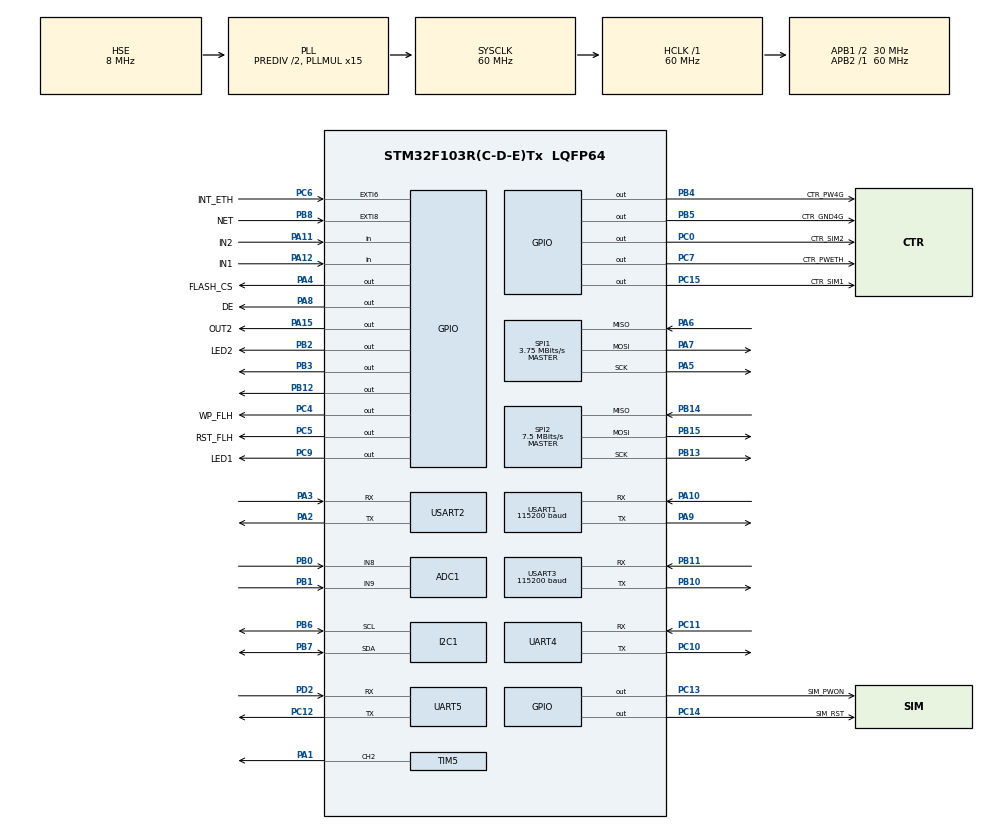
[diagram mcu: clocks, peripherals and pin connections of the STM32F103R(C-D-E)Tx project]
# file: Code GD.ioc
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ADC1.Channel-0\#ChannelRegularConversion=ADC_CHANNEL_8
ADC1.NbrOfConversionFlag=1
ADC1.Rank-0\#ChannelRegularConversion=1
ADC1.SamplingTime-0\#ChannelRegularConversion=ADC_SAMPLETIME_1CYCLE_5
ADC1.master=1
IWDG.Prescaler=IWDG_PRESCALER_256
IWDG.Reload=4000
Mcu.Family=STM32F1
Mcu.Name=STM32F103R(C-D-E)Tx
Mcu.Package=LQFP64
NVIC.EXTI9_5_IRQn=true\:0\:0\:false\:false\:true\:true\:true\:true
NVIC.PriorityGroup=NVIC_PRIORITYGROUP_4
NVIC.TIM2_IRQn=true\:0\:0\:false\:false\:true\:true\:true\:true
NVIC.TIM3_IRQn=true\:0\:0\:true\:false\:true\:true\:true\:true
NVIC.TIM6_IRQn=true\:0\:0\:false\:false\:true\:true\:true\:true
NVIC.UART4_IRQn=true\:0\:0\:false\:false\:true\:true\:true\:true
NVIC.UART5_IRQn=true\:0\:0\:false\:false\:true\:true\:true\:true
NVIC.USART1_IRQn=true\:0\:0\:true\:false\:true\:true\:true\:true
NVIC.USART2_IRQn=true\:0\:0\:false\:false\:true\:true\:true\:true
NVIC.USART3_IRQn=true\:0\:0\:true\:false\:true\:true\:true\:true
PA1.Signal=S_TIM5_CH2
PA10.Mode=Asynchronous
PA10.Signal=USART1_RX
PA11.GPIO_Label=IN2
PA11.GPIO_PuPd=GPIO_PULLUP
PA11.Signal=GPIO_Input
PA12.GPIO_Label=IN1
PA12.GPIO_PuPd=GPIO_PULLUP
PA12.Signal=GPIO_Input
PA13.Mode=Serial_Wire
PA13.Signal=SYS_JTMS-SWDIO
PA14.Mode=Serial_Wire
PA14.Signal=SYS_JTCK-SWCLK
PA15.GPIO_Label=OUT2
PA15.GPIO_Speed=GPIO_SPEED_FREQ_LOW
PA15.Signal=GPIO_Output
PA2.Mode=Asynchronous
PA2.Signal=USART2_TX
PA3.Mode=Asynchronous
PA3.Signal=USART2_RX
PA4.GPIO_Label=FLASH_CS
PA4.Signal=GPIO_Output
PA5.Mode=Full_Duplex_Master
PA5.Signal=SPI1_SCK
PA6.Mode=Full_Duplex_Master
PA6.Signal=SPI1_MISO
PA7.Mode=Full_Duplex_Master
PA7.Signal=SPI1_MOSI
PA8.GPIO_Label=DE
PA8.GPIO_Speed=GPIO_SPEED_FREQ_LOW
PA8.Signal=GPIO_Output
PA9.Mode=Asynchronous
PA9.Signal=USART1_TX
PB0.Signal=ADCx_IN8
PB1.Signal=ADCx_IN9
PB10.Mode=Asynchronous
PB10.Signal=USART3_TX
PB11.Mode=Asynchronous
PB11.Signal=USART3_RX
PB12.Signal=GPIO_Output
PB13.Mode=Full_Duplex_Master
PB13.Signal=SPI2_SCK
PB14.Mode=Full_Duplex_Master
PB14.Signal=SPI2_MISO
PB15.Mode=Full_Duplex_Master
PB15.Signal=SPI2_MOSI
PB2.GPIO_Label=LED2
PB2.GPIO_Speed=GPIO_SPEED_FREQ_LOW
PB2.Signal=GPIO_Output
PB3.Signal=GPIO_Output
PB4.GPIO_Label=CTR_PW4G
PB4.Signal=GPIO_Output
PB5.GPIO_Label=CTR_GND4G
PB5.PinState=GPIO_PIN_SET
PB5.Signal=GPIO_Output
PB6.GPIO_Pu=GPIO_PULLUP
PB6.Mode=I2C
PB6.Signal=I2C1_SCL
PB7.GPIO_Pu=GPIO_PULLUP
PB7.Mode=I2C
PB7.Signal=I2C1_SDA
PB8.GPIO_Label=NET
PB8.GPIO_ModeDefaultEXTI=GPIO_MODE_IT_FALLING
PB8.Signal=GPXTI8
PC0.GPIO_Label=CTR_SIM2
PC0.PinState=GPIO_PIN_RESET
PC0.Signal=GPIO_Output
PC10.Mode=Asynchronous
PC10.Signal=UART4_TX
PC11.Mode=Asynchronous
PC11.Signal=UART4_RX
PC12.Mode=Asynchronous
PC12.Signal=UART5_TX
PC13-TAMPER-RTC.GPIO_Label=SIM_PWON
PC13-TAMPER-RTC.GPIO_Speed=GPIO_SPEED_FREQ_LOW
PC13-TAMPER-RTC.Signal=GPIO_Output
PC14-OSC32_IN.GPIO_Label=SIM_RST
PC14-OSC32_IN.GPIO_Speed=GPIO_SPEED_FREQ_LOW
PC14-OSC32_IN.Signal=GPIO_Output
PC15-OSC32_OUT.GPIO_Label=CTR_SIM1
PC15-OSC32_OUT.PinState=GPIO_PIN_SET
PC15-OSC32_OUT.Signal=GPIO_Output
PC4.GPIO_Label=WP_FLH
PC4.GPIO_Speed=GPIO_SPEED_FREQ_LOW
PC4.PinState=GPIO_PIN_SET
PC4.Signal=GPIO_Output
PC5.GPIO_Label=RST_FLH
PC5.GPIO_Speed=GPIO_SPEED_FREQ_LOW
PC5.PinState=GPIO_PIN_SET
PC5.Signal=GPIO_Output
PC6.GPIO_Label=INT_ETH
PC6.GPIO_ModeDefaultEXTI=GPIO_MODE_IT_FALLING
PC6.Signal=GPXTI6
PC7.GPIO_Label=CTR_PWETH
PC7.GPIO_Speed=GPIO_SPEED_FREQ_LOW
PC7.Signal=GPIO_Output
PC9.GPIO_Label=LED1
PC9.Signal=GPIO_Output
PD0-OSC_IN.Mode=HSE-External-Oscillator
PD0-OSC_IN.Signal=RCC_OSC_IN
PD1-OSC_OUT.Mode=HSE-External-Oscillator
PD1-OSC_OUT.Signal=RCC_OSC_OUT
PD2.Mode=Asynchronous
PD2.Signal=UART5_RX
ProjectManager.HeapSize=0x200
ProjectManager.StackSize=0x400
ProjectManager.TargetToolchain=Makefile
RCC.ADCPresc=RCC_ADCPCLK2_DIV6
RCC.AHBFreq_Value=60000000
RCC.APB1CLKDivider=RCC_HCLK_DIV2
RCC.APB1Freq_Value=30000000
RCC.APB1TimFreq_Value=60000000
RCC.APB2Freq_Value=60000000
RCC.APB2TimFreq_Value=60000000
RCC.HCLKFreq_Value=60000000
RCC.HSEDivPLL=RCC_HSE_PREDIV_DIV2
RCC.PLLMUL=RCC_PLL_MUL15
RCC.PLLSourceVirtual=RCC_PLLSOURCE_HSE
RCC.SYSCLKFreq_VALUE=60000000
RCC.SYSCLKSource=RCC_SYSCLKSOURCE_PLLCLK
RCC.USBFreq_Value=60000000
SH.ADCx_IN8.0=ADC1_IN8,IN8
SH.ADCx_IN9.0=ADC1_IN9,IN9
SH.S_TIM5_CH2.0=TIM5_CH2,PWM Generation2 CH2
SPI1.BaudRatePrescaler=SPI_BAUDRATEPRESCALER_16
SPI1.CalculateBaudRate=3.75 MBits/s
SPI1.Direction=SPI_DIRECTION_2LINES
SPI1.Mode=SPI_MODE_MASTER
SPI1.VirtualType=VM_MASTER
SPI2.BaudRatePrescaler=SPI_BAUDRATEPRESCALER_4
SPI2.CalculateBaudRate=7.5 MBits/s
SPI2.Direction=SPI_DIRECTION_2LINES
SPI2.Mode=SPI_MODE_MASTER
SPI2.VirtualType=VM_MASTER
TIM2.Period=17999
TIM2.Prescaler=59
TIM3.Period=11999
TIM3.Prescaler=599
TIM4.Prescaler=59
TIM5.Channel-PWM\ Generation2\ CH2=TIM_CHANNEL_2
TIM5.Period=100
TIM5.Prescaler=59999
TIM5.Pulse-PWM\ Generation2\ CH2=100
TIM6.Period=17999
TIM6.Prescaler=59
UART4.VirtualMode=Asynchronous
UART5.VirtualMode=Asynchronous
USART1.BaudRate=115200
USART1.Parity=PARITY_NONE
USART1.VirtualMode=VM_ASYNC
USART2.VirtualMode=VM_ASYNC
USART3.BaudRate=115200
USART3.Parity=PARITY_NONE
USART3.VirtualMode=VM_ASYNC
VP_IWDG_VS_IWDG.Mode=IWDG_Activate
VP_TIM2_VS_ClockSourceINT.Mode=Internal
VP_TIM3_VS_ClockSourceINT.Mode=Internal
VP_TIM4_VS_ClockSourceINT.Mode=Internal
VP_TIM6_VS_ClockSourceINT.Mode=Enable_Timer
board=custom

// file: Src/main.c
/* USER CODE BEGIN Header */
/**
  ******************************************************************************
  * @file           : main.c
  * @brief          : Main program body
  ******************************************************************************
  * @attention
  *
  * <h2><center>&copy; Copyright (c) 2022 STMicroelectronics.
  * All rights reserved.</center></h2>
  *
  * This software component is licensed by ST under Ultimate Liberty license
  * SLA0044, the "License"; You may not use this file except in compliance with
  * the License. You may obtain a copy of the License at:
  *                             www.st.com/SLA0044
  *
  ******************************************************************************
  */
/* USER CODE END Header */
#include "main.h"

/* USER CODE BEGIN Includes */
#include "stm32f1xx_hal.h"
#include "stdio.h"
#include "string.h"
#include "Waveshare_SIM7600.h"
#include "uart.h"
#include "flash.h"
#include "delay.h"
#include "sdmm.h"
#include "math.h"
#include "i2c-lcd.h"
//#include "sd.h"
/* USER CODE END Includes */

/* USER CODE BEGIN PTD */

typedef enum
{
  ESP_WIFI_CONNECTED,
  ESP_WIFI_DISCONNECTED,
  ESP_TCP_OK,
  ESP_TCP_FAIL,
  ESP_START,
  ESP_FAIL,
  ESP_AP
} ESP_state_t;

/* USER CODE END PTD */

/* USER CODE BEGIN PD */
#define BQ_ADDR			0xD0
#define PROGRAM_START_DP 		 	 (uint32_t)0x0801E000
/* USER CODE END PD */

ADC_HandleTypeDef hadc1;

I2C_HandleTypeDef hi2c1;

IWDG_HandleTypeDef hiwdg;

SPI_HandleTypeDef hspi1;
SPI_HandleTypeDef hspi2;

TIM_HandleTypeDef htim2;
TIM_HandleTypeDef htim3;
TIM_HandleTypeDef htim4;
TIM_HandleTypeDef htim5;
TIM_HandleTypeDef htim6;

UART_HandleTypeDef huart4;
UART_HandleTypeDef huart5;
UART_HandleTypeDef huart1;
UART_HandleTypeDef huart2;
UART_HandleTypeDef huart3;

ESP_state_t ESP_Status = ESP_WIFI_DISCONNECTED;

void SystemClock_Config(void);
static void MX_GPIO_Init(void);
static void MX_I2C1_Init(void);
static void MX_TIM5_Init(void);
static void MX_USART1_UART_Init(void);
static void MX_USART2_UART_Init(void);
static void MX_USART3_UART_Init(void);
static void MX_SPI2_Init(void);
static void MX_SPI1_Init(void);
static void MX_TIM2_Init(void);
static void MX_TIM3_Init(void);
static void MX_IWDG_Init(void);
static void MX_ADC1_Init(void);
static void MX_UART4_Init(void);
static void MX_TIM4_Init(void);
static void MX_UART5_Init(void);
static void MX_TIM6_Init(void);
/* USER CODE BEGIN PFP */
#ifdef __GNUC__
/* With GCC/RAISONANCE, small printf (option LD Linker->Libraries->Small printf set to 'Yes') calls __io_putchar() */
#define PUTCHAR_PROTOTYPE int __io_putchar(int ch)
#else
 #define PUTCHAR_PROTOTYPE int fputc(int ch, FILE *f)
#endif /* __GNUC__ */
uint8_t BCD2DEC(uint8_t data)
{
	return (data>>4)*10 + (data&0x0F);
}
uint8_t DEC2BCD(uint8_t data)
{
	return (data/10)<<4 | (data%10);
}

/* USER CODE END PFP */

/* USER CODE BEGIN 0 */
uint8_t rx3_data, rx2_data, rx2_done = 0;
uint8_t DataRs485, Rs485Index = 0, Data_MB[99], Index_MB;
uint16_t rx2_index = 0, Index_SIM = 0;
char Sim_Data[668];

uint32_t time_led, time_of4g, time_net, time_dt, TIME_4G = 5000;

uint32_t SPS30_DT[4];
float PM1_0, PM4_0, PM2_5, PM10;

uint8_t on_4g = 0, net_ok = 0, Mode_SPS30[8];

char ssid[30] = "";
char pass[30] = "";

char IP[] = "imet.com.vn";
char port[] = "1111";

char rx5_index = 0;
char rx5_data = 0;
char rx5_buffer[50] = {0};
volatile bool isLastCommandOK = false;
uint32_t timeESP = 0;
uint32_t timeLCD = 0;
uint8_t pageLCD = 1;
uint32_t timeLED_ESP = 0;
uint16_t timeLED = 0;
uint32_t timeSIM = 0;
bool sim_sendTCP = false;

volatile uint16_t Timer1;

sdcard_handle_t sdcard;
FATFS	FatFs;
FIL	Fil;
//extern FATFS SDFatFs; //File system object structure (FATFS)
//struct sd_data SD;
void HAL_GPIO_EXTI_Callback(uint16_t GPIO_Pin)
{
	if(GPIO_Pin == NET_Pin)
  {
		//printf("time: %d", HAL_GetTick() - time_net);
		time_net = HAL_GetTick();
	}
}
void HAL_TIM_PeriodElapsedCallback(TIM_HandleTypeDef *htim)
{
	if(htim->Instance == TIM3)
	{
		Index_MB = Rs485Index;
//		 printf("\n\r");
//		 for(uint8_t i=0; i<Rs485Index; i++) {
//			  printf("%d  ", Data_MB[i]);//UART_putCharPC(DatabufferRs485[i]);
//		 }
		 //printf("ind: %d\n\r", Index_MB);
		HAL_GPIO_TogglePin(LED2_GPIO_Port, LED2_Pin);
		 //for(uint8_t i=0; i<Index_MB; i++)  Data_MB[i] = DatabufferRs485[i];
		 //memset(DatabufferRs485, '\0', 255);
		 //if(Rs485Index > 98) HAL_UART_Receive_IT(&huart4, &DataRs485, 1);
		Rs485Index = 0;
		HAL_TIM_Base_Stop_IT(&htim3);
  }
  if(htim->Instance == TIM2)
  {
		Index_SIM = rx2_index;
    // if(read_ms) printf("%s", Sim_Data);
    rx2_index = 0;
    rx2_done = 0;
    // read_ms = 1;
    HAL_TIM_Base_Stop_IT(&htim2);
  }
  if (htim->Instance == TIM6)
  {

  }
}
void HAL_UART_RxCpltCallback(UART_HandleTypeDef *huart)
{
	if(huart->Instance == USART3)
  {
		if(rx3_data == '^') NVIC_SystemReset();
		//HAL_UART_Receive_IT(&huart3, &rx3_data, 1);
	}
	if(huart->Instance == UART4)
  {
		Data_MB[Rs485Index] = DataRs485;
		DataRs485 = 0;
    Rs485Index++;
		if(Rs485Index == 2) HAL_TIM_Base_Start_IT(&htim3);
		__HAL_TIM_SET_COUNTER(&htim3, 0);
		HAL_UART_Receive_IT(&huart4, &DataRs485, 1);
	}
	if(huart->Instance == USART2)
  {
		Sim_Data[rx2_index] = rx2_data;
		rx2_data = 0;
		rx2_index++;
		if(rx2_index == 1) HAL_TIM_Base_Start_IT(&htim2);
		__HAL_TIM_SET_COUNTER(&htim2, 0);
		if(rx2_index < 668) HAL_UART_Receive_IT(&huart2, &rx2_data, 1);
	}
  if(huart->Instance == UART5)
  {
    rx5_buffer[rx5_index] = rx5_data;
    rx5_index++;
    if (rx5_data == '\n')
    {
      if (strstr(rx5_buffer, "OK") != NULL)
      {
        isLastCommandOK = true;
        memset(rx5_buffer, '\0', sizeof(rx5_buffer));
        rx5_index = 0;
      }
      else
      {
        isLastCommandOK = false;
        memset(rx5_buffer, '\0', sizeof(rx5_buffer));
        rx5_index = 0;
      }
    }
    if (ESP_Status == ESP_AP)
    {
      ESP_Status = ESP_START;
    }
    rx5_data = 0;
		HAL_UART_Receive_IT(&huart5, &rx5_data, 1);
  }
}

ESP_state_t ESP_Command(uint8_t mode, char* data)
{
  char command[20] ={0};
  uint32_t timeOut = 0;
  memset(command, '\0', sizeof(command));

  command[0] = 0xAA;
  command[1] = '0' + mode;
  switch (mode)
  {
    case 0:
    {
      uint8_t i = 0;
      while (*(data + i) != '\0')
      {
        command[i + 2] = *(data + i);
        i++;
      }
      i++;
      command[i + 1] = 0xBB;
      HAL_UART_Transmit(&huart5, (uint8_t*) command, (uint16_t) (i+2), 100);
      timeOut = HAL_GetTick();
      isLastCommandOK = false;
      while (!isLastCommandOK && ((HAL_GetTick() - timeOut) <= 15000));
      if (isLastCommandOK)
      {
        ESP_Status = ESP_WIFI_CONNECTED;
        return ESP_WIFI_CONNECTED;
      }
      else
      {
        ESP_Status = ESP_WIFI_DISCONNECTED;
        return ESP_WIFI_DISCONNECTED;
      }
    }
    case 1:
    {
      uint8_t i = 0;
      while (*(data + i) != '\0')
      {
        command[i + 2] = *(data + i);
        i++;
      }
      i++;
      command[i + 1] = 0xBB;
      HAL_UART_Transmit(&huart5, (uint8_t*) command, (uint16_t) (i+2), 100);
      timeOut = HAL_GetTick();
      isLastCommandOK = false;
      while (!isLastCommandOK && ((HAL_GetTick() - timeOut) <= 7500));
      if (isLastCommandOK)
      {
        return ESP_TCP_OK;
      }
      else
      {
        return ESP_TCP_FAIL;
      }
    }
    case 2:
    {
      uint8_t i = 0;
      while (i < 16)
      {
        command[i + 2] = *(data + i);
        i++;
      }
      i++;
      command[i + 1] = 0xBB;
      HAL_UART_Transmit(&huart5, (uint8_t*) command, (uint16_t) (19), 100);
      timeOut = HAL_GetTick();
      isLastCommandOK = false;
      while (!isLastCommandOK && ((HAL_GetTick() - timeOut) <= 7500));
      if (isLastCommandOK)
      {
        return ESP_TCP_OK;
      }
      else
      {
        return ESP_TCP_FAIL;
      }
    }
    case 3:
    {
      command[2] = 0xBB;
      HAL_UART_Transmit(&huart5, (uint8_t*) command, (uint16_t) (3), 100);
      timeOut = HAL_GetTick();
      isLastCommandOK = false;
      while (!isLastCommandOK && ((HAL_GetTick() - timeOut) <= 5000));
      if (isLastCommandOK)
      {
        return ESP_WIFI_DISCONNECTED;
      }
      break;
    }
    case 4:
    {
      command[2] = 0xBB;
      HAL_UART_Transmit(&huart5, (uint8_t*) command, (uint16_t) (3), 100);
      timeOut = HAL_GetTick();
      isLastCommandOK = false;
      while (!isLastCommandOK && ((HAL_GetTick() - timeOut) <= 5000));
      if (isLastCommandOK)
      {
        return ESP_START;
      }
      break;
    }
    case 5:
    {
      command[2] = 0xBB;
      HAL_UART_Transmit(&huart5, (uint8_t*) command, (uint16_t) (3), 100);
      timeOut = HAL_GetTick();
      isLastCommandOK = false;
      while (!isLastCommandOK && ((HAL_GetTick() - timeOut) <= 5000));

      return ESP_AP;
    }
    case 6:
    {
      command[2] = 0xBB;
      HAL_UART_Transmit(&huart5, (uint8_t*) command, (uint16_t) (3), 100);
      timeOut = HAL_GetTick();
      isLastCommandOK = false;
      while (!isLastCommandOK && ((HAL_GetTick() - timeOut) <= 10000));
      if (isLastCommandOK)
      {
        return ESP_WIFI_CONNECTED;
      }
      else
      {
        return ESP_WIFI_DISCONNECTED;
      }
    }
    case 7:
    {
      command[2] = 0xBB;
      HAL_UART_Transmit(&huart5, (uint8_t*) command, (uint16_t) (3), 100);
      timeOut = HAL_GetTick();
      isLastCommandOK = false;
      while (!isLastCommandOK && ((HAL_GetTick() - timeOut) <= 10000));
      if (isLastCommandOK)
      {
        return ESP_TCP_OK;
      }
      else
      {
        return ESP_TCP_FAIL;
      }
    }
    default:
    {
      return ESP_FAIL;
    }
  }
}

uint16_t CheckSumCrc16( uint8_t *ucBufferTemp, uint8_t ucLength )
{
    uint32_t CRCFull = 0xFFFF;
    char CRCLSB;
    for ( uint8_t i = 0; i < ucLength; i++ )
    {
        CRCFull = (uint16_t) (CRCFull ^ ucBufferTemp[i]);
        for ( int j = 0; j < 8; j++ )
        {
            CRCLSB = (char) (CRCFull & 0x0001);
            CRCFull = (uint16_t) ((CRCFull >> 1) & 0x7FFFF);

            if ( CRCLSB == 1 )
            {
                CRCFull = (uint16_t) (CRCFull ^ 0xA001);
            }
        }
    }
    return CRCFull;
}

void reverse(char* str, int len)
{
    int i = 0, j = len - 1, temp;
    while (i < j)
    {
        temp = str[i];
        str[i] = str[j];
        str[j] = temp;
        i++;
        j--;
    }
}

int intToStr(int x, char str[], int d)
{
    int i = 0;
    if (x == 0)
    {
        str[i++] = '0';
    }
    else
    {
        while (x)
        {
            str[i++] = (x % 10) + '0';
            x = x / 10;
        }
    }

    // If number of digits required is more, then
    // add 0s at the beginning
    while (i < d)
        str[i++] = '0';

    reverse(str, i);
    str[i] = '\0';
    return i;
}

void ftoa(float n, char* res, int afterpoint)
{
    // Extract integer part
    int ipart = (int)n;
    // Extract floating part
    float fpart = n - (float)ipart;
    // convert integer part to string
    int i = intToStr(ipart, res, 0);
    // check for display option after point
    if (afterpoint != 0)
    {
        res[i] = '.'; // add dot
        fpart = fpart * pow(10, afterpoint);
        intToStr((int)fpart, res + i + 1, afterpoint);
    }
}

static void sdcard_check()
{
	TCHAR label[10];
	DWORD	vsn;
	FATFS *fs;
	DWORD fre_clust, fre_sect, tot_sect;
	FRESULT	fr;
	double percent;
	sdcard.mount =false;
	fr = f_mount(&sdcard.FatFs, "", 1);
	if(fr == FR_OK){
		f_getlabel("", label, &vsn);
		f_getfree("", &fre_clust, &fs);
	    tot_sect = (fs->n_fatent - 2) * fs->csize;
	    fre_sect = fre_clust * fs->csize;
	    percent = (double)(fre_sect*100/tot_sect);
		sdcard.mount = true;
		sdcard.serial = vsn;
		strcpy(sdcard.label,label);
		printf("LOG: Mount SDCard OK. Label=%s. Serial Number=%lu\r\n",label,vsn);
		printf("%10lu KiB total drive space.\r\n%10lu KiB available.\r\n", tot_sect / 2, fre_sect / 2);
		printf("LOG:SDcard free %d %% \r\n",(int)percent);
	}
	else {
		printf("LOG: Mount SDCard Fail.\r\n");
	}
}
/* USER CODE END 0 */

int main(void)
{
  /* USER CODE BEGIN 1 */
	// SCB->VTOR = (uint32_t)0x08003000;
  __enable_irq();
	//MX_IWDG_Init();
//	IWDG->KR = 0xAAAA; // Writing 0xAAAA in the Key register prevents watchdog reset
//	IWDG->KR = 0xCCCC; // Start the independent watchdog timer
	//HAL_Delay(500);
	// hiwdg.Init.Reload = 100;
	// HAL_IWDG_Init(&hiwdg);
  /* USER CODE END 1 */

  /* MCU Configuration--------------------------------------------------------*/

  /* Reset of all peripherals, Initializes the Flash interface and the Systick. */
  HAL_Init();

  /* Configure the system clock */
  SystemClock_Config();

  /* Initialize all configured peripherals */
  MX_GPIO_Init();
  MX_I2C1_Init();
  MX_TIM5_Init();
  MX_USART1_UART_Init();
  MX_USART2_UART_Init();
  MX_USART3_UART_Init();
  MX_SPI2_Init();
  MX_SPI1_Init();
  MX_TIM2_Init();
  MX_TIM3_Init();
  MX_IWDG_Init();
  MX_ADC1_Init();
  MX_UART4_Init();
  MX_TIM4_Init();
  MX_UART5_Init();
  MX_TIM6_Init();
  /* USER CODE BEGIN 2 */

  //=============================================== LCD CONFIG ==================================
  lcd_init();
  lcd_clear_display();
  HAL_Delay(50);
  lcd_goto_XY(2, 6);
  HAL_Delay(50);
  lcd_send_string("WELCOME");
  HAL_Delay(50);
  lcd_goto_XY(3, 3);
  HAL_Delay(50);
  lcd_send_string("IMET PMX DUST");
  //================================================ LCD DONE ===============================================

  //============================================ TIMER & UARTs SETUP ========================================
	HAL_TIM_PWM_Start(&htim5, TIM_CHANNEL_2);
	__HAL_TIM_SetCompare(&htim5, TIM_CHANNEL_2, 50);
	HAL_TIM_Base_Stop_IT(&htim2);
	HAL_TIM_Base_Stop_IT(&htim3);
	HAL_UART_Receive_IT(&huart3, &rx3_data, 1);
	HAL_UART_Receive_IT(&huart2, &rx2_data, 1);
	HAL_UART_Receive_IT(&huart4, &DataRs485, 1);
  HAL_UART_Receive_IT(&huart5, &rx5_data, 1);
  //============================================ TIMER & UARTs DONE =========================================

  //============================================= SETUP CONTROL GPIO ========================================
	HAL_GPIO_WritePin(WP_FLH_GPIO_Port, WP_FLH_Pin, GPIO_PIN_RESET);
	HAL_GPIO_WritePin(RST_FLH_GPIO_Port, RST_FLH_Pin, GPIO_PIN_SET);
	HAL_GPIO_WritePin(LED2_GPIO_Port, LED2_Pin, GPIO_PIN_RESET);
	HAL_GPIO_WritePin(CTR_SIM1_GPIO_Port, CTR_SIM1_Pin, GPIO_PIN_SET);
	HAL_GPIO_WritePin(CTR_SIM2_GPIO_Port, CTR_SIM2_Pin, GPIO_PIN_RESET);
	// printf("Anh Trung\n\r");
	// printf("Power on SDCard\r\n");
  //=============================================== SETUP GPIO DONE ========================================

  //============================================ CHECK RTC AND ENABLE IWDG ========================================
  if(HAL_I2C_IsDeviceReady(&hi2c1, BQ_ADDR, 1, 100) == 0)
  {
    printf("DS1307 is OK\n\r");
  }

	MX_IWDG_Init();
	hiwdg.Init.Reload = 4000;
	HAL_IWDG_Init(&hiwdg);
	IWDG->KR = 0xAAAA; // Writing 0xAAAA in the Key register prevents watchdog reset
	IWDG->KR = 0xCCCC; // Start the independent watchdog timer
  //========================================= CHECK RTC AND ENABLE IWDG DONE ======================================

	uint32_t time1s = HAL_GetTick();
	sendATcommand("AT");
	if(HAL_GetTick() - time1s < 910)
  {
		sendATcommand("AT+NETOPEN");
		sendATcommand("AT+CATR=1");
		TIME_4G = 10000;
		on_4g = 0;
    net_ok = 1;
	}

  //============================================= DUST CONFIG ==================================================
	Mode_SPS30[0] = 0x7E; Mode_SPS30[1] = 0x00; Mode_SPS30[2] = 0x01; Mode_SPS30[3] = 0x00; Mode_SPS30[4] = 0xFE;
	Mode_SPS30[5] = 0x7E;
	memset(Data_MB, '\0', 99);
	HAL_UART_Transmit(&huart4, Mode_SPS30, 6, 100);
	HAL_Delay(2000);
	Mode_SPS30[0] = 0x7E; Mode_SPS30[1] = 0x00; Mode_SPS30[2] = 0x00; Mode_SPS30[3] = 0x02; Mode_SPS30[4] = 0x01;
	Mode_SPS30[5] = 0x03; Mode_SPS30[6] = 0xF9; Mode_SPS30[7] = 0x7E;
	memset(Data_MB, '\0', 99);
	HAL_UART_Transmit(&huart4, Mode_SPS30, 8, 100);
	HAL_UART_Receive_IT(&huart4, &DataRs485, 1);
  //================================================ DUST DONE ==================================================

  //================================================ ESP START ==================================================
  ESP_Status = ESP_Command(3, NULL);
  ESP_Status = ESP_Command(4, NULL);
  HAL_Delay(2000);
  timeESP = HAL_GetTick();
  timeLED = 5000;
  isLastCommandOK = false;
  while (!isLastCommandOK && ((HAL_GetTick() - timeESP) <= 15000))
  {
    IWDG->KR = 0xAAAA;
    HAL_Delay(500);
    HAL_GPIO_TogglePin(LED1_GPIO_Port, LED1_Pin);
  }

  if (isLastCommandOK)
  {
    ESP_Status = ESP_WIFI_CONNECTED;
    timeLED = 2000;
    char temp[20] = {0};
    sprintf(temp, "%s,%s", IP, port);
    ESP_Status = ESP_Command(1, temp);
    // ESP_Status = ESP_Command(7, NULL);
    HAL_Delay(1000);
  }
  else
  {
    if (ESP_Command(6, NULL) == ESP_WIFI_CONNECTED)
    {
      ESP_Status = ESP_WIFI_CONNECTED;
      timeLED = 2000;
      // ESP_Status = ESP_Command(7, NULL);
      char temp[20] = {0};
      sprintf(temp, "%s,%s", IP, port);
      ESP_Status = ESP_Command(1, temp);
      HAL_Delay(1000);
    }
    else
    {
      ESP_Status = ESP_WIFI_DISCONNECTED;
    }
  }
  //================================================ ESP DONE ====================================================

  timeESP = time_of4g = time_led = time_dt = time_net = timeSIM = HAL_GetTick();
  // memset(temp0, '\0', sizeof(temp0));
  // strcpy(temp0, IP);
  // strcat(temp0, ",");
  // strcat(temp0, port);
  // ESP_Command(1, temp0);
  // HAL_Delay(1000);
  uint8_t failcount = 0;
  lcd_clear_display();
  HAL_Delay(10);
  lcd_goto_XY(1, 0);
  lcd_send_string("PM1.0:        ug/m3");
  lcd_goto_XY(2, 0);
  lcd_send_string("PM2.5:        ug/m3");
  lcd_goto_XY(3, 0);
  lcd_send_string("PM4.0:        ug/m3");
  lcd_goto_XY(4, 0);
  lcd_send_string("PM10:         ug/m3");

  /* USER CODE END 2 */

  /* Infinite loop */
  /* USER CODE BEGIN WHILE */
  while (1)
  {
		IWDG->KR = 0xAAAA;
		if((HAL_GetTick() - time_of4g) > TIME_4G)
    {
			IWDG->KR = 0xAAAA;
			switch (on_4g)
			{
				case 4:
        {
					Network_check();
          PDPSetting();
          HAL_Delay(2000);
				  //sendATcommand("AT+CMGF=1");
					sendATcommand("AT+CIPRXGET=1");
          // sendATcommand("AT+CATR=1");
					sendATcommand("AT+CIPSRIP=0");

					printf("SIM7600 is OK\n\r");
					TIME_4G = 10000;
          on_4g = 0;
					net_ok = 1;
          time_net = HAL_GetTick();
          timeSIM = HAL_GetTick();
					break;
        }
				case 3:
        {
					HAL_GPIO_WritePin(SIM_PWON_GPIO_Port, SIM_PWON_Pin, GPIO_PIN_RESET);
					TIME_4G = 30000;
          on_4g = 4;
					break;
        }
				case 2:
        {
					HAL_GPIO_WritePin(SIM_PWON_GPIO_Port, SIM_PWON_Pin, GPIO_PIN_SET);
					TIME_4G = 400;
          on_4g = 3;
					break;
        }
				case 1:
        {
					SIM_PowerOn();
					TIME_4G = 900;
          on_4g = 2;
					break;
        }
				case 0:
        {
					if((HAL_GetTick() - time_net) > 3000)
          {
						SIM_PowerOff();
						HAL_GPIO_TogglePin(CTR_SIM1_GPIO_Port, CTR_SIM1_Pin);
						HAL_GPIO_TogglePin(CTR_SIM2_GPIO_Port, CTR_SIM2_Pin);
						on_4g = 1;
            net_ok = 0;
            TIME_4G = 2000;
					}
					else
          {
            net_ok = 1;
            TIME_4G = 10000;
          }
					break;
        }
			}
			time_of4g = HAL_GetTick();
		}

		if((HAL_GetTick() - time_dt) >= 3000)
    {
			if((Index_MB == 47)&&(Data_MB[0] == 126)&&(Data_MB[Index_MB-1] == 126)&&(Data_MB[1] == Data_MB[3])&&(Data_MB[4] == 40))
      {
				for(uint8_t i=0; i<4; i++)
					SPS30_DT[i] = (uint32_t)(Data_MB[4*i+5] << 24) | (uint32_t)(Data_MB[4*i+6] << 16) | (uint32_t)(Data_MB[4*i+7] << 8) | (uint32_t)Data_MB[4*i+8];
				PM1_0 = *(float*)&SPS30_DT[0];
        PM2_5 = *(float*)&SPS30_DT[1];
				PM4_0 = *(float*)&SPS30_DT[2];
        PM10  = *(float*)&SPS30_DT[3];
        // memcpy(&PM1_0, SPS30_DT, 4);
        // memcpy(&PM2_5, SPS30_DT+1, 4);
        // memcpy(&PM4_0, SPS30_DT+2, 4);
        // memcpy(&PM10, SPS30_DT+3, 4);
				printf("PM1.0: %.2f ug/m3\n\rPM2.5: %.2f ug/m3\n\rPM4.0: %.2f ug/m3\n\rPM10: %.2f ug/m3\n\r", PM1_0, PM2_5, PM4_0, PM10);
			}
			Mode_SPS30[0] = 0x7E; Mode_SPS30[1] = 0x00; Mode_SPS30[2] = 0x03; Mode_SPS30[3] = 0x00; Mode_SPS30[4] = 0xFC;
			Mode_SPS30[5] = 0x7E;
			memset(Data_MB, '\0', 99);
			HAL_UART_Transmit(&huart4, Mode_SPS30, 6, 100);
			HAL_UART_Receive_IT(&huart4, &DataRs485, 1);
			time_dt = HAL_GetTick();
		}
    if((HAL_GetTick() - timeESP) >= 10000)
    {
      if ((ESP_Status != ESP_AP) && (ESP_Status != ESP_START) && (ESP_Status != ESP_FAIL))
      {
        if (ESP_Command(6, NULL) == ESP_WIFI_DISCONNECTED)
        {
          timeLED = 5000;
          ESP_Status = ESP_WIFI_DISCONNECTED;
          failcount = 0;
        }
      }

      if((ESP_Status == ESP_TCP_OK) && (PM2_5 > 0.0) && (PM10 > 0.0) && (PM4_0 > 0.0) && (PM1_0 > 0.0))
      {
        timeLED = 500;
        uint8_t TCP_data[20] = {0};
        uint32_t CRCFull = 0xFFFF;
        uint32_t temp_c = 0;
        TCP_data[0] = 0x01;
        TCP_data[1] = 0x0B;
        temp_c = (uint32_t)(PM1_0 * 10);
        TCP_data[2] = temp_c / 256;
        TCP_data[3] = temp_c % 256;
        TCP_data[4] = ';';
        temp_c = (uint32_t)(PM2_5 * 10);
        TCP_data[5] = temp_c / 256;
        TCP_data[6] = temp_c % 256;
        TCP_data[7] = ';';
        temp_c = (uint32_t)(PM4_0 * 10);
        TCP_data[8] = temp_c / 256;
        TCP_data[9] = temp_c % 256;
        TCP_data[10] = ';';
        temp_c = (uint32_t)(PM10 * 10);
        TCP_data[11] = temp_c / 256;
        TCP_data[12] = temp_c % 256;

        CRCFull = CheckSumCrc16(TCP_data+2, 11);

        TCP_data[13] = (uint8_t) (CRCFull & 0xFF);
        TCP_data[14] = (uint8_t) ((CRCFull >> 8) & 0xFF);

        TCP_data[15] = (uint8_t) (0xFF - TCP_data[0]);

        ESP_Status = ESP_Command(2, TCP_data);
        if (ESP_Status == ESP_TCP_OK)
        {
          failcount = 0;
        }
        else
        {
          failcount++;
        }
      }
      else if ((ESP_Status == ESP_WIFI_DISCONNECTED) || (failcount > 5))
      {
        timeLED = 10000;
        ESP_Command(5, NULL);
        HAL_Delay(500);
        ESP_Status = ESP_AP;
      }
      else if ((ESP_Status == ESP_WIFI_CONNECTED) || (ESP_Status == ESP_TCP_FAIL))
      {
        timeLED = 2000;
        ESP_Status = ESP_Command(7, NULL);
        if (ESP_Status != ESP_TCP_OK)
        {
          failcount++;
        }
        else
        {
          failcount = 0;
        }
        HAL_Delay(1000);
      }
      else if (ESP_Status == ESP_START)
      {
        timeLED = 10000;
        timeESP = HAL_GetTick();
        failcount = 0;
        while (!isLastCommandOK && ((HAL_GetTick() - timeESP) <= 15000));
        if (isLastCommandOK)
        {
          ESP_Status = ESP_WIFI_CONNECTED;
          ESP_Status = ESP_Command(7, NULL);
        }
        else
        {
          if (ESP_Command(6, NULL) == ESP_WIFI_CONNECTED)
          {
            ESP_Status = ESP_WIFI_CONNECTED;
            ESP_Status = ESP_Command(7, NULL);
            HAL_Delay(1000);
          }
          else
          {
            ESP_Status = ESP_WIFI_DISCONNECTED;
          }
        }
      }
      else if (ESP_Status == ESP_FAIL)
      {
        timeLED = 20000;
        ESP_Command(4, NULL);
      }
      timeESP = HAL_GetTick();
    }
    if ((HAL_GetTick() - timeLCD) >= 1000)
    {
      char printData[17];
      char data[6] = {0};

      lcd_goto_XY(1, 7);
      lcd_send_string("      ");
      memset(data, '\0', sizeof(data));
      ftoa(PM1_0, data, 2);
      data[5] = '\0';
      sprintf(printData, "%6s", data);
      lcd_goto_XY(1, 7);
      lcd_send_string(printData);

      lcd_goto_XY(2, 7);
      lcd_send_string("      ");
      memset(data, '\0', sizeof(data));
      ftoa(PM2_5, data, 2);
      data[5] = '\0';
      sprintf(printData, "%6s", data);
      lcd_goto_XY(2, 7);
      lcd_send_string(printData);

      lcd_goto_XY(3, 7);
      lcd_send_string("      ");
      memset(printData, '\0', sizeof(printData));
      memset(data, '\0', sizeof(data));
      ftoa(PM4_0, data, 2);
      data[5] = '\0';
      sprintf(printData, "%6s", data);
      lcd_goto_XY(3, 7);
      lcd_send_string(printData);

      lcd_goto_XY(4, 7);
      lcd_send_string("      ");
      memset(printData, '\0', sizeof(printData));
      memset(data, '\0', sizeof(data));
      ftoa(PM10, data, 2);
      data[5] = '\0';
      sprintf(printData, "%6s", data);
      lcd_goto_XY(4, 7);
      lcd_send_string(printData);

      timeLCD = HAL_GetTick();
    }

    if ((HAL_GetTick() - timeLED_ESP) >= timeLED)
    {
      HAL_GPIO_TogglePin(LED1_GPIO_Port, LED1_Pin);
      timeLED_ESP = HAL_GetTick();
    }

    if ((HAL_GetTick() - timeSIM) >= 10000)
    {
      if (net_ok == 1)
      {
        TCPClient(port, IP);
        net_ok = 0;
        sim_sendTCP = true;
      }
      else if (sim_sendTCP == true)
      {
        uint8_t TCP_data[20] = {0};
        uint32_t CRCFull = 0xFFFF;
        uint32_t temp_c = 0;
        TCP_data[0] = 0x01;
        TCP_data[1] = 0x0B;
        temp_c = (uint32_t)(PM1_0 * 10);
        TCP_data[2] = temp_c / 256;
        TCP_data[3] = temp_c % 256;
        TCP_data[4] = ';';
        temp_c = (uint32_t)(PM2_5 * 10);
        TCP_data[5] = temp_c / 256;
        TCP_data[6] = temp_c % 256;
        TCP_data[7] = ';';
        temp_c = (uint32_t)(PM4_0 * 10);
        TCP_data[8] = temp_c / 256;
        TCP_data[9] = temp_c % 256;
        TCP_data[10] = ';';
        temp_c = (uint32_t)(PM10 * 10);
        TCP_data[11] = temp_c / 256;
        TCP_data[12] = temp_c % 256;

        CRCFull = CheckSumCrc16(TCP_data+2, 13);

        TCP_data[13] = (uint8_t) (CRCFull & 0xFF);
        TCP_data[14] = (uint8_t) ((CRCFull >> 8) & 0xFF);

        TCP_data[15] = (uint8_t) (0xFF - TCP_data[0]);
        TCPClientSendMS(TCP_data);
        timeSIM = HAL_GetTick();
      }
    }
    /* USER CODE END WHILE */
  }
}

void SystemClock_Config(void)
{
  RCC_OscInitTypeDef RCC_OscInitStruct = {0};
  RCC_ClkInitTypeDef RCC_ClkInitStruct = {0};
  RCC_PeriphCLKInitTypeDef PeriphClkInit = {0};

  /** Initializes the RCC Oscillators according to the specified parameters
  * in the RCC_OscInitTypeDef structure.
  */
  RCC_OscInitStruct.OscillatorType = RCC_OSCILLATORTYPE_LSI|RCC_OSCILLATORTYPE_HSE;
  RCC_OscInitStruct.HSEState = RCC_HSE_ON;
  RCC_OscInitStruct.HSEPredivValue = RCC_HSE_PREDIV_DIV2;
  RCC_OscInitStruct.HSIState = RCC_HSI_ON;
  RCC_OscInitStruct.LSIState = RCC_LSI_ON;
  RCC_OscInitStruct.PLL.PLLState = RCC_PLL_ON;
  RCC_OscInitStruct.PLL.PLLSource = RCC_PLLSOURCE_HSE;
  RCC_OscInitStruct.PLL.PLLMUL = RCC_PLL_MUL15;
  if (HAL_RCC_OscConfig(&RCC_OscInitStruct) != HAL_OK)
  {
    Error_Handler();
  }
  /** Initializes the CPU, AHB and APB buses clocks
  */
  RCC_ClkInitStruct.ClockType = RCC_CLOCKTYPE_HCLK|RCC_CLOCKTYPE_SYSCLK
                              |RCC_CLOCKTYPE_PCLK1|RCC_CLOCKTYPE_PCLK2;
  RCC_ClkInitStruct.SYSCLKSource = RCC_SYSCLKSOURCE_PLLCLK;
  RCC_ClkInitStruct.AHBCLKDivider = RCC_SYSCLK_DIV1;
  RCC_ClkInitStruct.APB1CLKDivider = RCC_HCLK_DIV2;
  RCC_ClkInitStruct.APB2CLKDivider = RCC_HCLK_DIV1;

  if (HAL_RCC_ClockConfig(&RCC_ClkInitStruct, FLASH_LATENCY_2) != HAL_OK)
  {
    Error_Handler();
  }
  PeriphClkInit.PeriphClockSelection = RCC_PERIPHCLK_ADC;
  PeriphClkInit.AdcClockSelection = RCC_ADCPCLK2_DIV6;
  if (HAL_RCCEx_PeriphCLKConfig(&PeriphClkInit) != HAL_OK)
  {
    Error_Handler();
  }
}

static void MX_ADC1_Init(void)
{

  ADC_ChannelConfTypeDef sConfig = {0};

  /** Common config
  */
  hadc1.Instance = ADC1;
  hadc1.Init.ScanConvMode = ADC_SCAN_DISABLE;
  hadc1.Init.ContinuousConvMode = DISABLE;
  hadc1.Init.DiscontinuousConvMode = DISABLE;
  hadc1.Init.ExternalTrigConv = ADC_SOFTWARE_START;
  hadc1.Init.DataAlign = ADC_DATAALIGN_RIGHT;
  hadc1.Init.NbrOfConversion = 1;
  if (HAL_ADC_Init(&hadc1) != HAL_OK)
  {
    Error_Handler();
  }
  /** Configure Regular Channel
  */
  sConfig.Channel = ADC_CHANNEL_8;
  sConfig.Rank = ADC_REGULAR_RANK_1;
  sConfig.SamplingTime = ADC_SAMPLETIME_1CYCLE_5;
  if (HAL_ADC_ConfigChannel(&hadc1, &sConfig) != HAL_OK)
  {
    Error_Handler();
  }

}

static void MX_I2C1_Init(void)
{

  hi2c1.Instance = I2C1;
  hi2c1.Init.ClockSpeed = 100000;
  hi2c1.Init.DutyCycle = I2C_DUTYCYCLE_2;
  hi2c1.Init.OwnAddress1 = 0;
  hi2c1.Init.AddressingMode = I2C_ADDRESSINGMODE_7BIT;
  hi2c1.Init.DualAddressMode = I2C_DUALADDRESS_DISABLE;
  hi2c1.Init.OwnAddress2 = 0;
  hi2c1.Init.GeneralCallMode = I2C_GENERALCALL_DISABLE;
  hi2c1.Init.NoStretchMode = I2C_NOSTRETCH_DISABLE;
  if (HAL_I2C_Init(&hi2c1) != HAL_OK)
  {
    Error_Handler();
  }

}

static void MX_IWDG_Init(void)
{

  hiwdg.Instance = IWDG;
  hiwdg.Init.Prescaler = IWDG_PRESCALER_256;
  hiwdg.Init.Reload = 4000;
  if (HAL_IWDG_Init(&hiwdg) != HAL_OK)
  {
    Error_Handler();
  }

}

static void MX_SPI1_Init(void)
{

  /* SPI1 parameter configuration*/
  hspi1.Instance = SPI1;
  hspi1.Init.Mode = SPI_MODE_MASTER;
  hspi1.Init.Direction = SPI_DIRECTION_2LINES;
  hspi1.Init.DataSize = SPI_DATASIZE_8BIT;
  hspi1.Init.CLKPolarity = SPI_POLARITY_LOW;
  hspi1.Init.CLKPhase = SPI_PHASE_1EDGE;
  hspi1.Init.NSS = SPI_NSS_SOFT;
  hspi1.Init.BaudRatePrescaler = SPI_BAUDRATEPRESCALER_16;
  hspi1.Init.FirstBit = SPI_FIRSTBIT_MSB;
  hspi1.Init.TIMode = SPI_TIMODE_DISABLE;
  hspi1.Init.CRCCalculation = SPI_CRCCALCULATION_DISABLE;
  hspi1.Init.CRCPolynomial = 10;
  if (HAL_SPI_Init(&hspi1) != HAL_OK)
  {
    Error_Handler();
  }

}

static void MX_SPI2_Init(void)
{

  /* SPI2 parameter configuration*/
  hspi2.Instance = SPI2;
  hspi2.Init.Mode = SPI_MODE_MASTER;
  hspi2.Init.Direction = SPI_DIRECTION_2LINES;
  hspi2.Init.DataSize = SPI_DATASIZE_8BIT;
  hspi2.Init.CLKPolarity = SPI_POLARITY_LOW;
  hspi2.Init.CLKPhase = SPI_PHASE_1EDGE;
  hspi2.Init.NSS = SPI_NSS_SOFT;
  hspi2.Init.BaudRatePrescaler = SPI_BAUDRATEPRESCALER_4;
  hspi2.Init.FirstBit = SPI_FIRSTBIT_MSB;
  hspi2.Init.TIMode = SPI_TIMODE_DISABLE;
  hspi2.Init.CRCCalculation = SPI_CRCCALCULATION_DISABLE;
  hspi2.Init.CRCPolynomial = 10;
  if (HAL_SPI_Init(&hspi2) != HAL_OK)
  {
    Error_Handler();
  }

}

static void MX_TIM2_Init(void)
{

  TIM_ClockConfigTypeDef sClockSourceConfig = {0};
  TIM_MasterConfigTypeDef sMasterConfig = {0};

  htim2.Instance = TIM2;
  htim2.Init.Prescaler = 59;
  htim2.Init.CounterMode = TIM_COUNTERMODE_UP;
  htim2.Init.Period = 17999;
  htim2.Init.ClockDivision = TIM_CLOCKDIVISION_DIV1;
  htim2.Init.AutoReloadPreload = TIM_AUTORELOAD_PRELOAD_DISABLE;
  if (HAL_TIM_Base_Init(&htim2) != HAL_OK)
  {
    Error_Handler();
  }
  sClockSourceConfig.ClockSource = TIM_CLOCKSOURCE_INTERNAL;
  if (HAL_TIM_ConfigClockSource(&htim2, &sClockSourceConfig) != HAL_OK)
  {
    Error_Handler();
  }
  sMasterConfig.MasterOutputTrigger = TIM_TRGO_RESET;
  sMasterConfig.MasterSlaveMode = TIM_MASTERSLAVEMODE_DISABLE;
  if (HAL_TIMEx_MasterConfigSynchronization(&htim2, &sMasterConfig) != HAL_OK)
  {
    Error_Handler();
  }

}

static void MX_TIM3_Init(void)
{

  TIM_ClockConfigTypeDef sClockSourceConfig = {0};
  TIM_MasterConfigTypeDef sMasterConfig = {0};

  htim3.Instance = TIM3;
  htim3.Init.Prescaler = 599;
  htim3.Init.CounterMode = TIM_COUNTERMODE_UP;
  htim3.Init.Period = 11999;
  htim3.Init.ClockDivision = TIM_CLOCKDIVISION_DIV1;
  htim3.Init.AutoReloadPreload = TIM_AUTORELOAD_PRELOAD_DISABLE;
  if (HAL_TIM_Base_Init(&htim3) != HAL_OK)
  {
    Error_Handler();
  }
  sClockSourceConfig.ClockSource = TIM_CLOCKSOURCE_INTERNAL;
  if (HAL_TIM_ConfigClockSource(&htim3, &sClockSourceConfig) != HAL_OK)
  {
    Error_Handler();
  }
  sMasterConfig.MasterOutputTrigger = TIM_TRGO_RESET;
  sMasterConfig.MasterSlaveMode = TIM_MASTERSLAVEMODE_DISABLE;
  if (HAL_TIMEx_MasterConfigSynchronization(&htim3, &sMasterConfig) != HAL_OK)
  {
    Error_Handler();
  }

}

static void MX_TIM4_Init(void)
{

  TIM_ClockConfigTypeDef sClockSourceConfig = {0};
  TIM_MasterConfigTypeDef sMasterConfig = {0};

  htim4.Instance = TIM4;
  htim4.Init.Prescaler = 59;
  htim4.Init.CounterMode = TIM_COUNTERMODE_UP;
  htim4.Init.Period = 65535;
  htim4.Init.ClockDivision = TIM_CLOCKDIVISION_DIV1;
  htim4.Init.AutoReloadPreload = TIM_AUTORELOAD_PRELOAD_DISABLE;
  if (HAL_TIM_Base_Init(&htim4) != HAL_OK)
  {
    Error_Handler();
  }
  sClockSourceConfig.ClockSource = TIM_CLOCKSOURCE_INTERNAL;
  if (HAL_TIM_ConfigClockSource(&htim4, &sClockSourceConfig) != HAL_OK)
  {
    Error_Handler();
  }
  sMasterConfig.MasterOutputTrigger = TIM_TRGO_RESET;
  sMasterConfig.MasterSlaveMode = TIM_MASTERSLAVEMODE_DISABLE;
  if (HAL_TIMEx_MasterConfigSynchronization(&htim4, &sMasterConfig) != HAL_OK)
  {
    Error_Handler();
  }

}

static void MX_TIM5_Init(void)
{

  TIM_MasterConfigTypeDef sMasterConfig = {0};
  TIM_OC_InitTypeDef sConfigOC = {0};

  htim5.Instance = TIM5;
  htim5.Init.Prescaler = 59999;
  htim5.Init.CounterMode = TIM_COUNTERMODE_UP;
  htim5.Init.Period = 100;
  htim5.Init.ClockDivision = TIM_CLOCKDIVISION_DIV1;
  htim5.Init.AutoReloadPreload = TIM_AUTORELOAD_PRELOAD_DISABLE;
  if (HAL_TIM_PWM_Init(&htim5) != HAL_OK)
  {
    Error_Handler();
  }
  sMasterConfig.MasterOutputTrigger = TIM_TRGO_RESET;
  sMasterConfig.MasterSlaveMode = TIM_MASTERSLAVEMODE_DISABLE;
  if (HAL_TIMEx_MasterConfigSynchronization(&htim5, &sMasterConfig) != HAL_OK)
  {
    Error_Handler();
  }
  sConfigOC.OCMode = TIM_OCMODE_PWM1;
  sConfigOC.Pulse = 100;
  sConfigOC.OCPolarity = TIM_OCPOLARITY_HIGH;
  sConfigOC.OCFastMode = TIM_OCFAST_DISABLE;
  if (HAL_TIM_PWM_ConfigChannel(&htim5, &sConfigOC, TIM_CHANNEL_2) != HAL_OK)
  {
    Error_Handler();
  }
  HAL_TIM_MspPostInit(&htim5);

}

static void MX_TIM6_Init(void)
{

  TIM_MasterConfigTypeDef sMasterConfig = {0};

  htim6.Instance = TIM6;
  htim6.Init.Prescaler = 59;
  htim6.Init.CounterMode = TIM_COUNTERMODE_UP;
  htim6.Init.Period = 17999;
  htim6.Init.AutoReloadPreload = TIM_AUTORELOAD_PRELOAD_DISABLE;
  if (HAL_TIM_Base_Init(&htim6) != HAL_OK)
  {
    Error_Handler();
  }
  sMasterConfig.MasterOutputTrigger = TIM_TRGO_RESET;
  sMasterConfig.MasterSlaveMode = TIM_MASTERSLAVEMODE_DISABLE;
  if (HAL_TIMEx_MasterConfigSynchronization(&htim6, &sMasterConfig) != HAL_OK)
  {
    Error_Handler();
  }

}

static void MX_UART4_Init(void)
{

  huart4.Instance = UART4;
  huart4.Init.BaudRate = 115200;
  huart4.Init.WordLength = UART_WORDLENGTH_8B;
  huart4.Init.StopBits = UART_STOPBITS_1;
  huart4.Init.Parity = UART_PARITY_NONE;
  huart4.Init.Mode = UART_MODE_TX_RX;
  huart4.Init.HwFlowCtl = UART_HWCONTROL_NONE;
  huart4.Init.OverSampling = UART_OVERSAMPLING_16;
  if (HAL_UART_Init(&huart4) != HAL_OK)
  {
    Error_Handler();
  }

}

static void MX_UART5_Init(void)
{

  huart5.Instance = UART5;
  huart5.Init.BaudRate = 115200;
  huart5.Init.WordLength = UART_WORDLENGTH_8B;
  huart5.Init.StopBits = UART_STOPBITS_1;
  huart5.Init.Parity = UART_PARITY_NONE;
  huart5.Init.Mode = UART_MODE_TX_RX;
  huart5.Init.HwFlowCtl = UART_HWCONTROL_NONE;
  huart5.Init.OverSampling = UART_OVERSAMPLING_16;
  if (HAL_UART_Init(&huart5) != HAL_OK)
  {
    Error_Handler();
  }

}

static void MX_USART1_UART_Init(void)
{

  huart1.Instance = USART1;
  huart1.Init.BaudRate = 115200;
  huart1.Init.WordLength = UART_WORDLENGTH_8B;
  huart1.Init.StopBits = UART_STOPBITS_1;
  huart1.Init.Parity = UART_PARITY_NONE;
  huart1.Init.Mode = UART_MODE_TX_RX;
  huart1.Init.HwFlowCtl = UART_HWCONTROL_NONE;
  huart1.Init.OverSampling = UART_OVERSAMPLING_16;
  if (HAL_UART_Init(&huart1) != HAL_OK)
  {
    Error_Handler();
  }

}

static void MX_USART2_UART_Init(void)
{

  huart2.Instance = USART2;
  huart2.Init.BaudRate = 115200;
  huart2.Init.WordLength = UART_WORDLENGTH_8B;
  huart2.Init.StopBits = UART_STOPBITS_1;
  huart2.Init.Parity = UART_PARITY_NONE;
  huart2.Init.Mode = UART_MODE_TX_RX;
  huart2.Init.HwFlowCtl = UART_HWCONTROL_NONE;
  huart2.Init.OverSampling = UART_OVERSAMPLING_16;
  if (HAL_UART_Init(&huart2) != HAL_OK)
  {
    Error_Handler();
  }

}

static void MX_USART3_UART_Init(void)
{

  huart3.Instance = USART3;
  huart3.Init.BaudRate = 115200;
  huart3.Init.WordLength = UART_WORDLENGTH_8B;
  huart3.Init.StopBits = UART_STOPBITS_1;
  huart3.Init.Parity = UART_PARITY_NONE;
  huart3.Init.Mode = UART_MODE_TX_RX;
  huart3.Init.HwFlowCtl = UART_HWCONTROL_NONE;
  huart3.Init.OverSampling = UART_OVERSAMPLING_16;
  if (HAL_UART_Init(&huart3) != HAL_OK)
  {
    Error_Handler();
  }

}

static void MX_GPIO_Init(void)
{
  GPIO_InitTypeDef GPIO_InitStruct = {0};

  /* GPIO Ports Clock Enable */
  __HAL_RCC_GPIOC_CLK_ENABLE();
  __HAL_RCC_GPIOD_CLK_ENABLE();
  __HAL_RCC_GPIOA_CLK_ENABLE();
  __HAL_RCC_GPIOB_CLK_ENABLE();

  /*Configure GPIO pin Output Level */
  HAL_GPIO_WritePin(GPIOC, SIM_PWON_Pin|SIM_RST_Pin|CTR_SIM2_Pin|CTR_PWETH_Pin
                          |LED1_Pin, GPIO_PIN_RESET);

  /*Configure GPIO pin Output Level */
  HAL_GPIO_WritePin(GPIOC, CTR_SIM1_Pin|WP_FLH_Pin|RST_FLH_Pin, GPIO_PIN_SET);

  /*Configure GPIO pin Output Level */
  HAL_GPIO_WritePin(GPIOA, FLASH_CS_Pin|DE_Pin|OUT2_Pin, GPIO_PIN_RESET);

  /*Configure GPIO pin Output Level */
  HAL_GPIO_WritePin(GPIOB, LED2_Pin|GPIO_PIN_12|GPIO_PIN_3|CTR_PW4G_Pin, GPIO_PIN_RESET);

  /*Configure GPIO pin Output Level */
  HAL_GPIO_WritePin(CTR_GND4G_GPIO_Port, CTR_GND4G_Pin, GPIO_PIN_SET);

  /*Configure GPIO pins : SIM_PWON_Pin SIM_RST_Pin CTR_SIM1_Pin CTR_SIM2_Pin
                           WP_FLH_Pin RST_FLH_Pin CTR_PWETH_Pin LED1_Pin */
  GPIO_InitStruct.Pin = SIM_PWON_Pin|SIM_RST_Pin|CTR_SIM1_Pin|CTR_SIM2_Pin
                          |WP_FLH_Pin|RST_FLH_Pin|CTR_PWETH_Pin|LED1_Pin;
  GPIO_InitStruct.Mode = GPIO_MODE_OUTPUT_PP;
  GPIO_InitStruct.Pull = GPIO_NOPULL;
  GPIO_InitStruct.Speed = GPIO_SPEED_FREQ_LOW;
  HAL_GPIO_Init(GPIOC, &GPIO_InitStruct);

  /*Configure GPIO pins : FLASH_CS_Pin DE_Pin OUT2_Pin */
  GPIO_InitStruct.Pin = FLASH_CS_Pin|DE_Pin|OUT2_Pin;
  GPIO_InitStruct.Mode = GPIO_MODE_OUTPUT_PP;
  GPIO_InitStruct.Pull = GPIO_NOPULL;
  GPIO_InitStruct.Speed = GPIO_SPEED_FREQ_LOW;
  HAL_GPIO_Init(GPIOA, &GPIO_InitStruct);

  /*Configure GPIO pins : LED2_Pin PB12 PB3 CTR_PW4G_Pin
                           CTR_GND4G_Pin */
  GPIO_InitStruct.Pin = LED2_Pin|GPIO_PIN_12|GPIO_PIN_3|CTR_PW4G_Pin
                          |CTR_GND4G_Pin;
  GPIO_InitStruct.Mode = GPIO_MODE_OUTPUT_PP;
  GPIO_InitStruct.Pull = GPIO_NOPULL;
  GPIO_InitStruct.Speed = GPIO_SPEED_FREQ_LOW;
  HAL_GPIO_Init(GPIOB, &GPIO_InitStruct);

  /*Configure GPIO pin : INT_ETH_Pin */
  GPIO_InitStruct.Pin = INT_ETH_Pin;
  GPIO_InitStruct.Mode = GPIO_MODE_IT_FALLING;
  GPIO_InitStruct.Pull = GPIO_NOPULL;
  HAL_GPIO_Init(INT_ETH_GPIO_Port, &GPIO_InitStruct);

  /*Configure GPIO pins : IN2_Pin IN1_Pin */
  GPIO_InitStruct.Pin = IN2_Pin|IN1_Pin;
  GPIO_InitStruct.Mode = GPIO_MODE_INPUT;
  GPIO_InitStruct.Pull = GPIO_PULLUP;
  HAL_GPIO_Init(GPIOA, &GPIO_InitStruct);

  /*Configure GPIO pin : NET_Pin */
  GPIO_InitStruct.Pin = NET_Pin;
  GPIO_InitStruct.Mode = GPIO_MODE_IT_FALLING;
  GPIO_InitStruct.Pull = GPIO_NOPULL;
  HAL_GPIO_Init(NET_GPIO_Port, &GPIO_InitStruct);

  /* EXTI interrupt init*/
  HAL_NVIC_SetPriority(EXTI9_5_IRQn, 0, 0);
  HAL_NVIC_EnableIRQ(EXTI9_5_IRQn);

}

/* USER CODE BEGIN 4 */
PUTCHAR_PROTOTYPE
{
 /* Place your implementation of fputc here */
 /* e.g. write a character to the USART */
  HAL_UART_Transmit(&huart3, (uint8_t *)&ch, 1, 100);
  return ch;
}
/* USER CODE END 4 */

void Error_Handler(void)
{
  __disable_irq();
  while (1)
  {
  }
}

/************************ (C) COPYRIGHT STMicroelectronics *****END OF FILE****/
